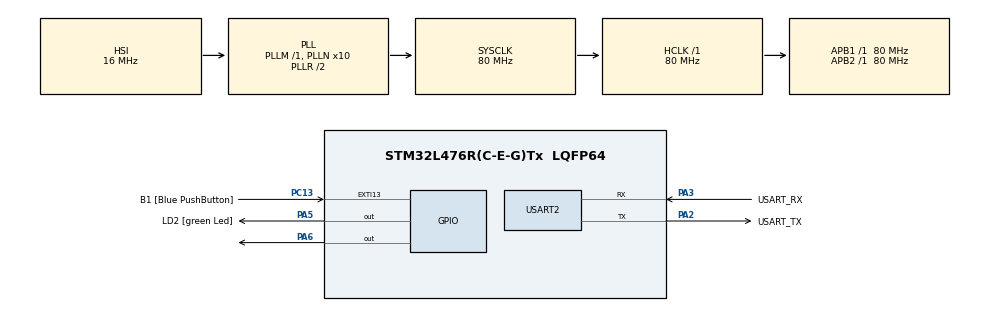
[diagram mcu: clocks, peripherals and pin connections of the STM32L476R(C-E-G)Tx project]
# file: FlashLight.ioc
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Mcu.Family=STM32L4
Mcu.Name=STM32L476R(C-E-G)Tx
Mcu.Package=LQFP64
NVIC.EXTI15_10_IRQn=true\:0\:0\:false\:false\:true\:true\:true\:true
NVIC.PriorityGroup=NVIC_PRIORITYGROUP_4
NVIC.TIM4_IRQn=true\:0\:0\:false\:false\:true\:true\:true\:true
NVIC.TIM6_DAC_IRQn=true\:0\:0\:false\:false\:true\:true\:true\:true
NVIC.USART2_IRQn=true\:0\:0\:false\:false\:true\:true\:true\:true
PA13\ (JTMS-SWDIO).GPIO_Label=TMS
PA13\ (JTMS-SWDIO).Mode=Serial_Wire
PA13\ (JTMS-SWDIO).Signal=SYS_JTMS-SWDIO
PA14\ (JTCK-SWCLK).GPIO_Label=TCK
PA14\ (JTCK-SWCLK).Mode=Serial_Wire
PA14\ (JTCK-SWCLK).Signal=SYS_JTCK-SWCLK
PA2.GPIO_Label=USART_TX
PA2.GPIO_Mode=GPIO_MODE_AF_PP
PA2.GPIO_PuPd=GPIO_NOPULL
PA2.GPIO_Speed=GPIO_SPEED_FREQ_VERY_HIGH
PA2.Mode=Asynchronous
PA2.Signal=USART2_TX
PA3.GPIO_Label=USART_RX
PA3.GPIO_Mode=GPIO_MODE_AF_PP
PA3.GPIO_PuPd=GPIO_NOPULL
PA3.GPIO_Speed=GPIO_SPEED_FREQ_VERY_HIGH
PA3.Mode=Asynchronous
PA3.Signal=USART2_RX
PA5.GPIO_Label=LD2 [green Led]
PA5.GPIO_ModeDefaultOutputPP=GPIO_MODE_OUTPUT_PP
PA5.GPIO_PuPd=GPIO_NOPULL
PA5.GPIO_Speed=GPIO_SPEED_FREQ_LOW
PA5.Signal=GPIO_Output
PA6.Signal=GPIO_Output
PB3\ (JTDO-TRACESWO).GPIO_Label=SWO
PB3\ (JTDO-TRACESWO).Signal=SYS_JTDO-SWO
PC13.GPIO_Label=B1 [Blue PushButton]
PC13.GPIO_ModeDefaultEXTI=GPIO_MODE_IT_RISING_FALLING
PC13.GPIO_PuPd=GPIO_NOPULL
PC13.Signal=GPXTI13
PC14-OSC32_IN\ (PC14).Mode=LSE-External-Oscillator
PC14-OSC32_IN\ (PC14).Signal=RCC_OSC32_IN
PC15-OSC32_OUT\ (PC15).Mode=LSE-External-Oscillator
PC15-OSC32_OUT\ (PC15).Signal=RCC_OSC32_OUT
PH0-OSC_IN\ (PH0).Signal=RCC_OSC_IN
PH1-OSC_OUT\ (PH1).Signal=RCC_OSC_OUT
ProjectManager.HeapSize=0x200
ProjectManager.StackSize=0x400
ProjectManager.TargetToolchain=STM32CubeIDE
RCC.ADCFreq_Value=64000000
RCC.AHBFreq_Value=80000000
RCC.APB1Freq_Value=80000000
RCC.APB1TimFreq_Value=80000000
RCC.APB2Freq_Value=80000000
RCC.APB2TimFreq_Value=80000000
RCC.CortexFreq_Value=80000000
RCC.HCLKFreq_Value=80000000
RCC.HSE_VALUE=8000000
RCC.HSI_VALUE=16000000
RCC.MSI_VALUE=4000000
RCC.PLLN=10
RCC.PLLSourceVirtual=RCC_PLLSOURCE_HSI
RCC.PREFETCH_ENABLE=1
RCC.SYSCLKFreq_VALUE=80000000
RCC.SYSCLKSource=RCC_SYSCLKSOURCE_PLLCLK
RCC.USBFreq_Value=64000000
RCC.VCOOutputFreq_Value=160000000
TIM4.Period=500
TIM4.Prescaler=7999
TIM6.Period=4999
TIM6.Prescaler=7999
USART2.VirtualMode-Asynchronous=VM_ASYNC
VP_TIM4_VS_ClockSourceINT.Mode=Internal
VP_TIM6_VS_ClockSourceINT.Mode=Enable_Timer
board=NUCLEO-L476RG

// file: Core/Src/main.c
/* USER CODE BEGIN Header */
/**
  ******************************************************************************
  * @file           : main.c
  * @brief          : Main program body
  ******************************************************************************
  * @attention
  *
  * Copyright (c) 2022 STMicroelectronics.
  * All rights reserved.
  *
  * This software is licensed under terms that can be found in the LICENSE file
  * in the root directory of this software component.
  * If no LICENSE file comes with this software, it is provided AS-IS.
  *
  ******************************************************************************
  */
/* USER CODE END Header */
#include "main.h"

/* USER CODE BEGIN Includes */
#include "flashLight.h"
#include "LEDcontrol.h"
/* USER CODE END Includes */

 TIM_HandleTypeDef htim4;
TIM_HandleTypeDef htim6;

UART_HandleTypeDef huart2;

void SystemClock_Config(void);
static void MX_GPIO_Init(void);
static void MX_USART2_UART_Init(void);
static void MX_TIM6_Init(void);
static void MX_TIM4_Init(void);

/* USER CODE BEGIN 0 */
void LEDcontrol()
{
	switch(currentState)
		{
	case STATE_OFF:
		stop();
		break;
	case STATE_ON:
		start();
		break;
	case STATE_DIM:
		DIM();
		break;
	case STATE_FLASHING:
		flashing();
		break;
	default:
		stop();
		break;
	}
}

/////////////////////////////////////////////////////////////////////////
// Short or Long Pressing
/////////////////////////////////////////////////////////////////////////

int tikCnt = 0;

void HAL_TIM_PeriodElapsedCallback(TIM_HandleTypeDef * htim)
{
	if(htim == &htim4){
//		printf("4\r\n");
		if(tikCnt == 2){
			flashing();
		}
		tikCnt = 0;
	}
	else{
		//HAL_GPIO_TogglePin(LD2_GPIO_Port, LD2_Pin);
		/////////////////////////////////////////////////////
		if(brightCnt == 0 && brightLevel != 0){
			HAL_GPIO_WritePin(LD2_GPIO_Port, LD2_Pin, 1);
		}
		else
		{
			if(brightCnt == brightLevel){
				HAL_GPIO_WritePin(LD2_GPIO_Port, LD2_Pin, 0);
			}
		}

		brightCnt++;
		if(brightCnt >= 10){
			brightCnt = 0;
		}
	}
}

int pressDown = 0;
int pressUp = 0;
void HAL_GPIO_EXTI_Callback(uint16_t GPIO_Pin)
{
	//changeState();
	if(tikCnt == 0){
		__HAL_TIM_SET_COUNTER(&htim4, 0);
		__HAL_TIM_SET_AUTORELOAD(&htim4, 5000);
		HAL_TIM_Base_Start_IT(&htim4);
	}
	if(HAL_GPIO_ReadPin(B1_GPIO_Port, B1_Pin) == 0){
		pressDown = HAL_GetTick();
		tikCnt++;
	}
	else if(HAL_GPIO_ReadPin(B1_GPIO_Port, B1_Pin) == 1){
		pressUp = HAL_GetTick();
		printf("down = %d\r\n",pressDown);
		printf("up = %d\r\n",pressUp);
		if(pressUp - pressDown < 500){
			printf("short\r\n\n");
			stop();
		}
		else{
			printf("long\r\n\n");
			start();
		}
	}
}

/////////////////////////////////////////////////////////////////////////
// Led task definitions and functions
/////////////////////////////////////////////////////////////////////////

enum LedTaskState
{
	LedOn,
	LedOff,
};

enum LedTaskState ledState;
int ledCount;
int ledMaxCount;

//void ledTask()
//{
//	if (ledState == LedOn)
//	{
//		if (ledCount++ >= ledMaxCount)
//		{
//			HAL_GPIO_TogglePin(LD2_GPIO_Port, LD2_Pin);
//			ledCount = 0;
//		}
//	}
//	else if (ledState == LedOff)
//	{
//		//HAL_GPIO_WritePin(LD2_GPIO_Port, LD2_Pin, 0);
//	}
//}
//
//void ledStart(int maxCount)
//{
//	ledState = LedOn;
//	ledMaxCount = maxCount;
//}
//
//void ledStop()
//{
//	ledState = LedOff;
//	HAL_GPIO_WritePin(LD2_GPIO_Port, LD2_Pin, 0);
//}

/////////////////////////////////////////////////////////////////////////
// Communication task definitions and functions
/////////////////////////////////////////////////////////////////////////

#define MAX_BUFFER_LENGTH 100

uint8_t cmdbuffer[MAX_BUFFER_LENGTH];
int cmdcount = 0;
int cmdprint = 0;

int Communication_commTask()
{
	uint8_t ch;

	HAL_StatusTypeDef Status = HAL_UART_Receive(&huart2, &ch, 1, 10);
	if (Status != HAL_OK)
	{
		if ((huart2.Instance->ISR & USART_ISR_ORE) != 0)
		{
			__HAL_UART_CLEAR_OREFLAG(&huart2);
		}

		// here we have a time to print the command
		while (cmdprint < cmdcount)
		{
			HAL_UART_Transmit(&huart2, &cmdbuffer[cmdprint++], 1, 0xFFFF);
		}

		return 0;
	}

	if (ch != '\r' && ch != '\n')
	{
		//HAL_UART_Transmit(&huart2, &ch, 1, 0xFFFF);

		if (cmdcount >= MAX_BUFFER_LENGTH)
		{
			cmdcount = 0;
			cmdprint = 0;
		}

		cmdbuffer[cmdcount++] = ch;
		return 0;
	}

	// here we have a time to print the command
	while (cmdprint < cmdcount)
	{
		HAL_UART_Transmit(&huart2, &cmdbuffer[cmdprint++], 1, 0xFFFF);
	}

	HAL_UART_Transmit(&huart2, (uint8_t*)"\r\n", 2, 0xFFFF);

	cmdbuffer[cmdcount] = 0;
	cmdcount = 0;
	cmdprint = 0;
	return 1;
}

void Communication_handleCommand()
{
  char cmd[20];
  int userBright;

  int params = sscanf((const char*)cmdbuffer, "%s %d", cmd, &userBright);

  if (params == 0)
  {
	  return;
  }

//  if (strcmp(cmd, "start") == 0)
//  {
//	  ledStart(maxCount);
//  }
//  else if (strcmp(cmd, "stop") == 0)
//  {
//	  ledStop();
//  }
  if (strcmp(cmd, "full") == 0)
    {
  	  start();
    }
  else if (strcmp(cmd, "off") == 0)
    {
  	  stop();
    }
//  else if (strcmp(cmd, "blink") == 0)
//    {
//	  flashing();
//    }
//  else if (strcmp(cmd, "half") == 0)
//    {
//	  DIM();
//    }
  else if (strcmp(cmd, "bright") == 0)
      {
	  	  setBrightness(userBright);
      }
  else
  {
	  printf("Invalid command\r\n");
  }
  //changeState();
}

/////////////////////////////////////////////////////////////////////////
// Redirecting printf to UART
/////////////////////////////////////////////////////////////////////////
int _write(int fd, char* ptr, int len) {
    HAL_UART_Transmit(&huart2, (uint8_t *) ptr, len, HAL_MAX_DELAY);
    return len;
}
/* USER CODE END 0 */

int main(void)
{

  /* MCU Configuration--------------------------------------------------------*/

  /* Reset of all peripherals, Initializes the Flash interface and the Systick. */
  HAL_Init();

  /* Configure the system clock */
  SystemClock_Config();

  /* Initialize all configured peripherals */
  MX_GPIO_Init();
  MX_USART2_UART_Init();
  MX_TIM6_Init();
  MX_TIM4_Init();
  /* USER CODE BEGIN 2 */
  HAL_NVIC_EnableIRQ(EXTI15_10_IRQn);
  HAL_NVIC_EnableIRQ(TIM6_IRQn);
  HAL_NVIC_EnableIRQ(TIM4_IRQn);
  /* USER CODE END 2 */

  /* Infinite loop */
  /* USER CODE BEGIN WHILE */
  HAL_GPIO_WritePin(LD2_GPIO_Port, LD2_Pin, 1);
  while (1)
  {
    /* USER CODE END WHILE */

    /* USER CODE BEGIN 3 */
	  //ledTask();
	  	  if (Communication_commTask())
	  	  {
	  		  Communication_handleCommand();
	  	  }
  }
  /* USER CODE END 3 */
}

void SystemClock_Config(void)
{
  RCC_OscInitTypeDef RCC_OscInitStruct = {0};
  RCC_ClkInitTypeDef RCC_ClkInitStruct = {0};

  /** Configure the main internal regulator output voltage
  */
  if (HAL_PWREx_ControlVoltageScaling(PWR_REGULATOR_VOLTAGE_SCALE1) != HAL_OK)
  {
    Error_Handler();
  }

  /** Initializes the RCC Oscillators according to the specified parameters
  * in the RCC_OscInitTypeDef structure.
  */
  RCC_OscInitStruct.OscillatorType = RCC_OSCILLATORTYPE_HSI;
  RCC_OscInitStruct.HSIState = RCC_HSI_ON;
  RCC_OscInitStruct.HSICalibrationValue = RCC_HSICALIBRATION_DEFAULT;
  RCC_OscInitStruct.PLL.PLLState = RCC_PLL_ON;
  RCC_OscInitStruct.PLL.PLLSource = RCC_PLLSOURCE_HSI;
  RCC_OscInitStruct.PLL.PLLM = 1;
  RCC_OscInitStruct.PLL.PLLN = 10;
  RCC_OscInitStruct.PLL.PLLP = RCC_PLLP_DIV7;
  RCC_OscInitStruct.PLL.PLLQ = RCC_PLLQ_DIV2;
  RCC_OscInitStruct.PLL.PLLR = RCC_PLLR_DIV2;
  if (HAL_RCC_OscConfig(&RCC_OscInitStruct) != HAL_OK)
  {
    Error_Handler();
  }

  /** Initializes the CPU, AHB and APB buses clocks
  */
  RCC_ClkInitStruct.ClockType = RCC_CLOCKTYPE_HCLK|RCC_CLOCKTYPE_SYSCLK
                              |RCC_CLOCKTYPE_PCLK1|RCC_CLOCKTYPE_PCLK2;
  RCC_ClkInitStruct.SYSCLKSource = RCC_SYSCLKSOURCE_PLLCLK;
  RCC_ClkInitStruct.AHBCLKDivider = RCC_SYSCLK_DIV1;
  RCC_ClkInitStruct.APB1CLKDivider = RCC_HCLK_DIV1;
  RCC_ClkInitStruct.APB2CLKDivider = RCC_HCLK_DIV1;

  if (HAL_RCC_ClockConfig(&RCC_ClkInitStruct, FLASH_LATENCY_4) != HAL_OK)
  {
    Error_Handler();
  }
}

static void MX_TIM4_Init(void)
{

  TIM_ClockConfigTypeDef sClockSourceConfig = {0};
  TIM_MasterConfigTypeDef sMasterConfig = {0};

  htim4.Instance = TIM4;
  htim4.Init.Prescaler = 7999;
  htim4.Init.CounterMode = TIM_COUNTERMODE_UP;
  htim4.Init.Period = 500;
  htim4.Init.ClockDivision = TIM_CLOCKDIVISION_DIV1;
  htim4.Init.AutoReloadPreload = TIM_AUTORELOAD_PRELOAD_DISABLE;
  if (HAL_TIM_Base_Init(&htim4) != HAL_OK)
  {
    Error_Handler();
  }
  sClockSourceConfig.ClockSource = TIM_CLOCKSOURCE_INTERNAL;
  if (HAL_TIM_ConfigClockSource(&htim4, &sClockSourceConfig) != HAL_OK)
  {
    Error_Handler();
  }
  sMasterConfig.MasterOutputTrigger = TIM_TRGO_RESET;
  sMasterConfig.MasterSlaveMode = TIM_MASTERSLAVEMODE_DISABLE;
  if (HAL_TIMEx_MasterConfigSynchronization(&htim4, &sMasterConfig) != HAL_OK)
  {
    Error_Handler();
  }

}

static void MX_TIM6_Init(void)
{

  TIM_MasterConfigTypeDef sMasterConfig = {0};

  htim6.Instance = TIM6;
  htim6.Init.Prescaler = 7999;
  htim6.Init.CounterMode = TIM_COUNTERMODE_UP;
  htim6.Init.Period = 4999;
  htim6.Init.AutoReloadPreload = TIM_AUTORELOAD_PRELOAD_DISABLE;
  if (HAL_TIM_Base_Init(&htim6) != HAL_OK)
  {
    Error_Handler();
  }
  sMasterConfig.MasterOutputTrigger = TIM_TRGO_RESET;
  sMasterConfig.MasterSlaveMode = TIM_MASTERSLAVEMODE_DISABLE;
  if (HAL_TIMEx_MasterConfigSynchronization(&htim6, &sMasterConfig) != HAL_OK)
  {
    Error_Handler();
  }

}

static void MX_USART2_UART_Init(void)
{

  huart2.Instance = USART2;
  huart2.Init.BaudRate = 115200;
  huart2.Init.WordLength = UART_WORDLENGTH_8B;
  huart2.Init.StopBits = UART_STOPBITS_1;
  huart2.Init.Parity = UART_PARITY_NONE;
  huart2.Init.Mode = UART_MODE_TX_RX;
  huart2.Init.HwFlowCtl = UART_HWCONTROL_NONE;
  huart2.Init.OverSampling = UART_OVERSAMPLING_16;
  huart2.Init.OneBitSampling = UART_ONE_BIT_SAMPLE_DISABLE;
  huart2.AdvancedInit.AdvFeatureInit = UART_ADVFEATURE_NO_INIT;
  if (HAL_UART_Init(&huart2) != HAL_OK)
  {
    Error_Handler();
  }

}

static void MX_GPIO_Init(void)
{
  GPIO_InitTypeDef GPIO_InitStruct = {0};

  /* GPIO Ports Clock Enable */
  __HAL_RCC_GPIOC_CLK_ENABLE();
  __HAL_RCC_GPIOH_CLK_ENABLE();
  __HAL_RCC_GPIOA_CLK_ENABLE();
  __HAL_RCC_GPIOB_CLK_ENABLE();

  /*Configure GPIO pin Output Level */
  HAL_GPIO_WritePin(GPIOA, LD2_Pin|GPIO_PIN_6, GPIO_PIN_RESET);

  /*Configure GPIO pin : B1_Pin */
  GPIO_InitStruct.Pin = B1_Pin;
  GPIO_InitStruct.Mode = GPIO_MODE_IT_RISING_FALLING;
  GPIO_InitStruct.Pull = GPIO_NOPULL;
  HAL_GPIO_Init(B1_GPIO_Port, &GPIO_InitStruct);

  /*Configure GPIO pins : LD2_Pin PA6 */
  GPIO_InitStruct.Pin = LD2_Pin|GPIO_PIN_6;
  GPIO_InitStruct.Mode = GPIO_MODE_OUTPUT_PP;
  GPIO_InitStruct.Pull = GPIO_NOPULL;
  GPIO_InitStruct.Speed = GPIO_SPEED_FREQ_LOW;
  HAL_GPIO_Init(GPIOA, &GPIO_InitStruct);

  /* EXTI interrupt init*/
  HAL_NVIC_SetPriority(EXTI15_10_IRQn, 0, 0);
  HAL_NVIC_EnableIRQ(EXTI15_10_IRQn);

}

void Error_Handler(void)
{
  __disable_irq();
  while (1)
  {
  }
}
